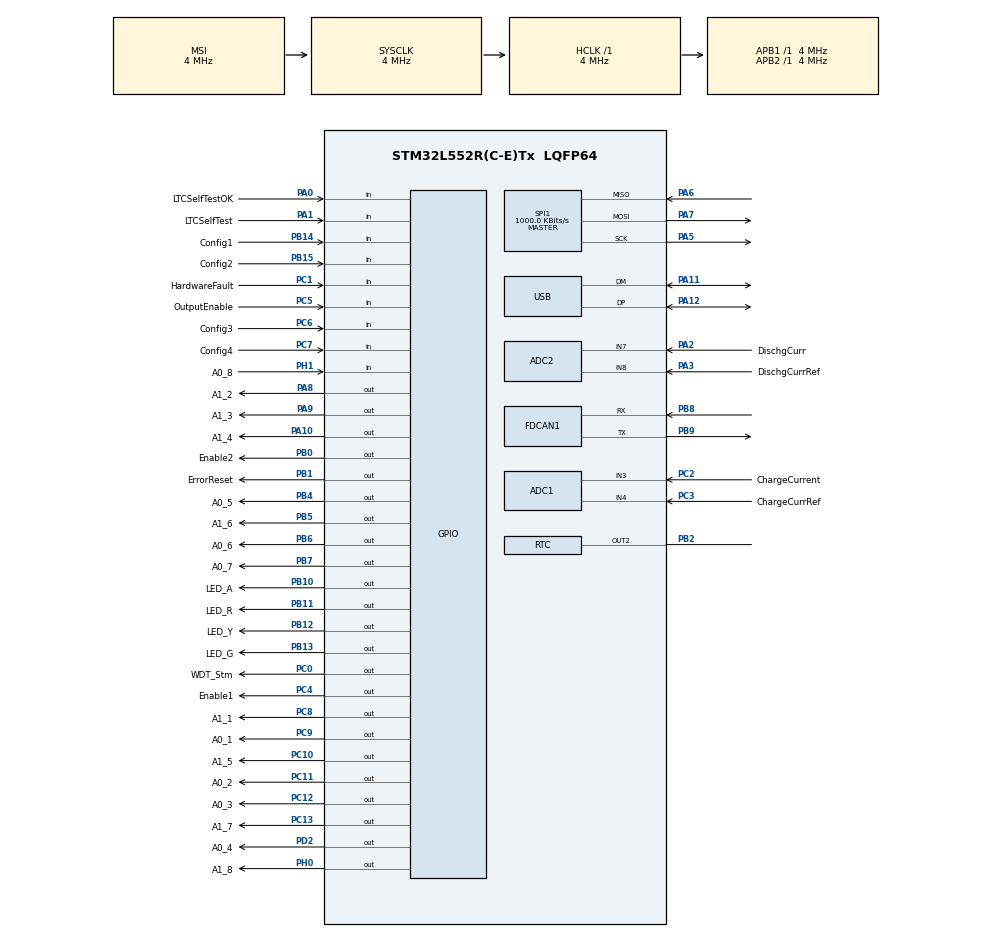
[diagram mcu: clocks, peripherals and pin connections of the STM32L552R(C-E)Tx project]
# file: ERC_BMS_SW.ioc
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ADC1.Channel-8\#ChannelRegularConversion=ADC_CHANNEL_3
ADC1.ExternalTrigConv=ADC_EXTERNALTRIG_T8_TRGO
ADC1.Mode=ADC_DUALMODE_REGSIMULT
ADC1.NbrOfConversionFlag=1
ADC1.OffsetNumber-8\#ChannelRegularConversion=ADC_OFFSET_NONE
ADC1.Rank-8\#ChannelRegularConversion=1
ADC1.SamplingTime-8\#ChannelRegularConversion=ADC_SAMPLETIME_2CYCLES_5
ADC1.SingleDiff-8\#ChannelRegularConversion=ADC_DIFFERENTIAL_ENDED
ADC1.master=1
ADC2.Channel-0\#ChannelRegularConversion=ADC_CHANNEL_7
ADC2.Mode=ADC_DUALMODE_REGSIMULT
ADC2.NbrOfConversionFlag=1
ADC2.OffsetNumber-0\#ChannelRegularConversion=ADC_OFFSET_NONE
ADC2.Rank-0\#ChannelRegularConversion=1
ADC2.SamplingTime-0\#ChannelRegularConversion=ADC_SAMPLETIME_2CYCLES_5
ADC2.SingleDiff-0\#ChannelRegularConversion=ADC_DIFFERENTIAL_ENDED
Dma.ADC1.0.Channel_PRIV_NPRIV=DMA_CHANNEL_NPRIV_DISABLE
Dma.ADC1.0.Direction=DMA_PERIPH_TO_MEMORY
Dma.ADC1.0.EventEnable=DISABLE
Dma.ADC1.0.Instance=DMA1_Channel2
Dma.ADC1.0.MemDataAlignment=DMA_MDATAALIGN_HALFWORD
Dma.ADC1.0.MemInc=DMA_MINC_DISABLE
Dma.ADC1.0.Mode=DMA_CIRCULAR
Dma.ADC1.0.PeriphDataAlignment=DMA_PDATAALIGN_HALFWORD
Dma.ADC1.0.PeriphInc=DMA_PINC_DISABLE
Dma.ADC1.0.Polarity=HAL_DMAMUX_REQ_GEN_RISING
Dma.ADC1.0.Priority=DMA_PRIORITY_LOW
Dma.ADC1.0.RequestNumber=1
Dma.ADC1.0.SignalID=NONE
Dma.ADC1.0.SyncEnable=DISABLE
Dma.ADC1.0.SyncPolarity=HAL_DMAMUX_SYNC_NO_EVENT
Dma.ADC1.0.SyncRequestNumber=1
Dma.ADC1.0.SyncSignalID=NONE
Dma.ADC2.1.Channel_PRIV_NPRIV=DMA_CHANNEL_NPRIV_DISABLE
Dma.ADC2.1.Direction=DMA_PERIPH_TO_MEMORY
Dma.ADC2.1.EventEnable=DISABLE
Dma.ADC2.1.Instance=DMA1_Channel1
Dma.ADC2.1.MemDataAlignment=DMA_MDATAALIGN_HALFWORD
Dma.ADC2.1.MemInc=DMA_MINC_ENABLE
Dma.ADC2.1.Mode=DMA_CIRCULAR
Dma.ADC2.1.PeriphDataAlignment=DMA_PDATAALIGN_HALFWORD
Dma.ADC2.1.PeriphInc=DMA_PINC_DISABLE
Dma.ADC2.1.Polarity=HAL_DMAMUX_REQ_GEN_RISING
Dma.ADC2.1.Priority=DMA_PRIORITY_LOW
Dma.ADC2.1.RequestNumber=1
Dma.ADC2.1.SignalID=NONE
Dma.ADC2.1.SyncEnable=DISABLE
Dma.ADC2.1.SyncPolarity=HAL_DMAMUX_SYNC_NO_EVENT
Dma.ADC2.1.SyncRequestNumber=1
Dma.ADC2.1.SyncSignalID=NONE
Dma.Request0=ADC1
Dma.Request1=ADC2
FDCAN1.CalculateBaudRateNominal=666666
FDCAN1.CalculateTimeBitNominal=1500
FDCAN1.CalculateTimeQuantumNominal=500.0
Mcu.Family=STM32L5
Mcu.Name=STM32L552R(C-E)Tx
Mcu.Package=LQFP64
NVIC.DMA1_Channel1_IRQn=true\:0\:0\:false\:false\:true\:false\:true\:true
NVIC.DMA1_Channel2_IRQn=true\:0\:0\:false\:false\:true\:false\:true\:true
NVIC.PriorityGroup=NVIC_PRIORITYGROUP_3
NVIC.TIM2_IRQn=true\:0\:0\:false\:false\:true\:true\:true\:true
NVIC.TIM3_IRQn=true\:0\:0\:false\:false\:true\:true\:true\:true
NVIC.TIM4_IRQn=true\:0\:0\:false\:false\:true\:true\:true\:true
NVIC.TIM5_IRQn=true\:0\:0\:false\:false\:true\:true\:true\:true
NVIC.USB_FS_IRQn=true\:0\:0\:false\:false\:true\:false\:true\:true
PA0.GPIO_Label=LTCSelfTestOK
PA0.Signal=GPIO_Input
PA1.GPIO_Label=LTCSelfTest
PA1.Signal=GPIO_Input
PA10.GPIO_Label=A1_4
PA10.Signal=GPIO_Output
PA11.Mode=Device
PA11.Signal=USB_DM
PA12.Mode=Device
PA12.Signal=USB_DP
PA13\ (JTMS/SWDIO).Mode=JTAG_4_pins
PA13\ (JTMS/SWDIO).Signal=DEBUG_JTMS-SWDIO
PA14\ (JTCK/SWCLK).Mode=JTAG_4_pins
PA14\ (JTCK/SWCLK).Signal=DEBUG_JTCK-SWCLK
PA15\ (JTDI).Mode=JTAG_4_pins
PA15\ (JTDI).Signal=DEBUG_JTDI
PA2.GPIO_Label=DischgCurr
PA2.Signal=ADCx_IN7
PA3.GPIO_Label=DischgCurrRef
PA3.Signal=ADCx_IN8
PA4.GPIO_Label=SPI1_CS
PA4.Signal=SPI1_NSS
PA5.Mode=Full_Duplex_Master
PA5.Signal=SPI1_SCK
PA6.Mode=Full_Duplex_Master
PA6.Signal=SPI1_MISO
PA7.Mode=Full_Duplex_Master
PA7.Signal=SPI1_MOSI
PA8.GPIO_Label=A1_2
PA8.Signal=GPIO_Output
PA9.GPIO_Label=A1_3
PA9.Signal=GPIO_Output
PB0.GPIO_Label=Enable2
PB0.Signal=GPIO_Output
PB1.GPIO_Label=ErrorReset
PB1.Signal=GPIO_Output
PB10.GPIO_Label=LED_A
PB10.Signal=GPIO_Output
PB11.GPIO_Label=LED_R
PB11.Signal=GPIO_Output
PB12.GPIO_Label=LED_Y
PB12.Signal=GPIO_Output
PB13.GPIO_Label=LED_G
PB13.Signal=GPIO_Output
PB14.GPIO_Label=Config1
PB14.GPIO_PuPd=GPIO_PULLUP
PB14.Signal=GPIO_Input
PB15.GPIO_Label=Config2
PB15.GPIO_PuPd=GPIO_PULLUP
PB15.Signal=GPIO_Input
PB2.Mode=Calibration_512Hz
PB2.Signal=RTC_OUT2
PB3\ (JTDO/TRACESWO).Mode=JTAG_4_pins
PB3\ (JTDO/TRACESWO).Signal=DEBUG_JTDO-SWO
PB4\ (NJTRST).GPIO_Label=A0_5
PB4\ (NJTRST).Signal=GPIO_Output
PB5.GPIO_Label=A1_6
PB5.Signal=GPIO_Output
PB6.GPIO_Label=A0_6
PB6.Signal=GPIO_Output
PB7.GPIO_FM7=__NULL
PB7.GPIO_Label=A0_7
PB7.GPIO_Speed=GPIO_SPEED_FREQ_LOW
PB7.Signal=GPIO_Output
PB8.Mode=FDCAN_Activate
PB8.Signal=FDCAN1_RX
PB9.Mode=FDCAN_Activate
PB9.Signal=FDCAN1_TX
PC0.GPIO_Label=WDT_Stm
PC0.Signal=GPIO_Output
PC1.GPIO_Label=HardwareFault
PC1.Signal=GPIO_Input
PC10.GPIO_Label=A1_5
PC10.Signal=GPIO_Output
PC11.GPIO_Label=A0_2
PC11.Signal=GPIO_Output
PC12.GPIO_Label=A0_3
PC12.Signal=GPIO_Output
PC13.GPIO_Label=A1_7
PC13.Signal=GPIO_Output
PC14-OSC32_IN\ (PC14).Mode=LSE-External-Oscillator
PC14-OSC32_IN\ (PC14).Signal=RCC_OSC32_IN
PC15-OSC32_OUT\ (PC15).Mode=LSE-External-Oscillator
PC15-OSC32_OUT\ (PC15).Signal=RCC_OSC32_OUT
PC2.GPIO_Label=ChargeCurrent
PC2.Signal=ADCx_IN3
PC3.GPIO_Label=ChargeCurrRef
PC3.Signal=ADCx_IN4
PC4.GPIO_Label=Enable1
PC4.Signal=GPIO_Output
PC5.GPIO_Label=OutputEnable
PC5.Signal=GPIO_Input
PC6.GPIO_Label=Config3
PC6.GPIO_PuPd=GPIO_PULLUP
PC6.Signal=GPIO_Input
PC7.GPIO_Label=Config4
PC7.GPIO_PuPd=GPIO_PULLUP
PC7.Signal=GPIO_Input
PC8.GPIO_Label=A1_1
PC8.Signal=GPIO_Output
PC9.GPIO_Label=A0_1
PC9.Signal=GPIO_Output
PD2.GPIO_Label=A0_4
PD2.Signal=GPIO_Output
PH0-OSC_IN\ (PH0).GPIO_Label=A1_8
PH0-OSC_IN\ (PH0).Signal=GPIO_Output
PH1-OSC_OUT\ (PH1).GPIO_Label=A0_8
PH1-OSC_OUT\ (PH1).Signal=GPIO_Input
ProjectManager.HeapSize=0x200
ProjectManager.StackSize=0x400
ProjectManager.TargetToolchain=STM32CubeIDE
RCC.ADCFreq_Value=48000000
RCC.AHBFreq_Value=4000000
RCC.APB1Freq_Value=4000000
RCC.APB1TimFreq_Value=4000000
RCC.APB2Freq_Value=4000000
RCC.APB2TimFreq_Value=4000000
RCC.CortexFreq_Value=4000000
RCC.HCLKFreq_Value=4000000
RCC.HSE_VALUE=16000000
RCC.HSI48_VALUE=48000000
RCC.HSI_VALUE=16000000
RCC.MSI_VALUE=4000000
RCC.PLLN=16
RCC.PLLSAI1N=24
RCC.RTCClockSelection=RCC_RTCCLKSOURCE_LSE
RCC.SYSCLKFreq_VALUE=4000000
RCC.USBFreq_Value=48000000
RCC.VCOOutputFreq_Value=64000000
SH.ADCx_IN3.0=ADC1_IN3,IN3-Differential
SH.ADCx_IN4.0=ADC1_IN4,IN3-Differential
SH.ADCx_IN7.0=ADC2_IN7,IN7-Differential
SH.ADCx_IN8.0=ADC2_IN8,IN7-Differential
SPI1.BaudRatePrescaler=SPI_BAUDRATEPRESCALER_4
SPI1.CLKPhase=SPI_PHASE_2EDGE
SPI1.CLKPolarity=SPI_POLARITY_HIGH
SPI1.CRCCalculation=SPI_CRCCALCULATION_DISABLE
SPI1.CalculateBaudRate=1000.0 KBits/s
SPI1.DataSize=SPI_DATASIZE_8BIT
SPI1.Direction=SPI_DIRECTION_2LINES
SPI1.Mode=SPI_MODE_MASTER
SPI1.VirtualType=VM_MASTER
TIM2.Channel-Output\ Compare1\ No\ Output=TIM_CHANNEL_1
TIM2.OCMode_1=TIM_OCMODE_ACTIVE
TIM2.Period=99
TIM2.Prescaler=7999
TIM2.Pulse-Output\ Compare1\ No\ Output=24
TIM2.TIM_MasterOutputTrigger=TIM_TRGO_OC1REF
TIM3.Channel-Output\ Compare1\ No\ Output=TIM_CHANNEL_1
TIM3.OCMode_1=TIM_OCMODE_ACTIVE
TIM3.Period=99
TIM3.Prescaler=7999
TIM3.Pulse-Output\ Compare1\ No\ Output=24
TIM4.Channel-Output\ Compare1\ No\ Output=TIM_CHANNEL_1
TIM4.OCMode_1=TIM_OCMODE_ACTIVE
TIM4.Period=99
TIM4.Prescaler=7999
TIM4.Pulse-Output\ Compare1\ No\ Output=24
TIM5.Period=99
USB_DEVICE.CLASS_NAME_FS=DFU
USB_DEVICE.VirtualMode=Dfu
USB_DEVICE.VirtualModeFS=Dfu_FS
VP_ICACHE_VS_ICACHE.Mode=DirectMappedCache
VP_PWR_VS_DBSignals.Mode=DisableDeadBatterySignals
VP_PWR_VS_SECSignals.Mode=Security/Privilege
VP_RTC_VS_RTC_Activate.Mode=RTC_Enabled
VP_RTC_VS_RTC_Calendar.Mode=RTC_Calendar
VP_TIM2_VS_ClockSourceINT.Mode=Internal
VP_TIM2_VS_no_output1.Mode=Output Compare1 No Output
VP_TIM3_VS_ClockSourceITR.Mode=TriggerSource_ITR1
VP_TIM3_VS_ControllerModeTrigger.Mode=Trigger Mode
VP_TIM3_VS_no_output1.Mode=Output Compare1 No Output
VP_TIM4_VS_ClockSourceITR.Mode=TriggerSource_ITR2
VP_TIM4_VS_ControllerModeTrigger.Mode=Trigger Mode
VP_TIM4_VS_no_output1.Mode=Output Compare1 No Output
VP_TIM5_VS_ClockSourceITR.Mode=TriggerSource_ITR2
VP_TIM5_VS_ControllerModeTrigger.Mode=Trigger Mode
VP_TIM8_VS_ClockSourceINT.Mode=Internal
VP_USB_DEVICE_VS_USB_DEVICE_DFU_FS.Mode=DFU_FS
board=custom

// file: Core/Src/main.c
/* USER CODE BEGIN Header */
/**
  ******************************************************************************
  * @file           : main.c
  * @brief          : Main program body
  ******************************************************************************
  * @attention
  *
  * Copyright (c) 2025 STMicroelectronics.
  * All rights reserved.
  *
  * This software is licensed under terms that can be found in the LICENSE file
  * in the root directory of this software component.
  * If no LICENSE file comes with this software, it is provided AS-IS.
  *
  ******************************************************************************
  */
/* USER CODE END Header */
#include "main.h"
#include "usb_device.h"

/* USER CODE BEGIN Includes */
#include "config.h"
#include "LTC6811.h"
#include "LT_SPI.h"
#include "LTC681x.h"
#include "stm32l5xx_hal.h"
#include <math.h>
#include <string.h>
/* USER CODE END Includes */

ADC_HandleTypeDef hadc1;
ADC_HandleTypeDef hadc2;
DMA_HandleTypeDef hdma_adc1;
DMA_HandleTypeDef hdma_adc2;

FDCAN_HandleTypeDef hfdcan1;

RTC_HandleTypeDef hrtc;

SPI_HandleTypeDef hspi1;

TIM_HandleTypeDef htim2;
TIM_HandleTypeDef htim3;
TIM_HandleTypeDef htim4;
TIM_HandleTypeDef htim5;
TIM_HandleTypeDef htim8;

/* USER CODE BEGIN PV */
float voltages[12];	//holds the converted voltages of each cell for 1 BMS IC
float temperatures[5];	//holds the Temperatures for 1 BMS IC

//LTC CONFIGURATION VARIABLES
bool REFON = true; //!< Reference Powered Up Bit (true means Vref remains powered on between conversions)
bool ADCOPT = true; //!< ADC Mode option bit	(true chooses the second set of ADC frequencies)
bool gpioBits_a[5] = {false,false,false,false,false}; //!< GPIO Pin Control // Gpio 1,2,3,4,5 (false -> pull-down on)
bool dccBits_a[12] = {false,false,false,false,false,false,false,false,false,false,false,false}; //!< Discharge cell switch //Dcc 1,2,3,4,5,6,7,8,9,10,11,12 (all false -> no discharge enabled)
bool dctoBits[4] = {false, false, false, false}; //!< Discharge time value // Dcto 0,1,2,3	(all false -> discharge timer disabled)

/* USER CODE END PV */

void SystemClock_Config(void);
void PeriphCommonClock_Config(void);
static void MX_GPIO_Init(void);
static void MX_DMA_Init(void);
static void MX_FDCAN1_Init(void);
static void MX_RTC_Init(void);
static void MX_ADC1_Init(void);
static void MX_SPI1_Init(void);
static void MX_ICACHE_Init(void);
static void MX_ADC2_Init(void);
static void MX_TIM2_Init(void);
static void MX_TIM3_Init(void);
static void MX_TIM4_Init(void);
static void MX_TIM5_Init(void);
static void MX_TIM8_Init(void);
/* USER CODE BEGIN PFP */
void LTC6811_init(void);	//Initializes the LTC and the SPI communication
/* USER CODE END PFP */

int main(void)
{

  /* MCU Configuration--------------------------------------------------------*/

  /* Reset of all peripherals, Initializes the Flash interface and the Systick. */
  HAL_Init();

  /* Configure the system clock */
  SystemClock_Config();

  /* Configure the peripherals common clocks */
  PeriphCommonClock_Config();

  /* Initialize all configured peripherals */
  MX_GPIO_Init();
  MX_DMA_Init();
  MX_FDCAN1_Init();
  MX_RTC_Init();
  MX_USB_Device_Init();
  MX_ADC1_Init();
  MX_SPI1_Init();
  MX_ICACHE_Init();
  MX_ADC2_Init();
  MX_TIM2_Init();
  MX_TIM3_Init();
  MX_TIM4_Init();
  MX_TIM5_Init();
  MX_TIM8_Init();
  /* USER CODE BEGIN 2 */

  LTC6811_init();	//initializes the LTC (and SPI communication)

  //START TIMERS
  HAL_TIM_Base_Start(&htim8);	//Triggers ADCs

  HAL_TIM_Base_Start_IT(&htim5); // Triggers Reading of aux conversion
  HAL_TIM_Base_Start_IT(&htim4); // Triggers aux conversion
  HAL_TIM_Base_Start_IT(&htim3); // Triggers Reading of voltage conversion
  HAL_TIM_Base_Start_IT(&htim2); // Triggers voltage conversion

  /* USER CODE END 2 */

  /* Infinite loop */
  while (1)
  {

  }
}

void SystemClock_Config(void)
{
  RCC_OscInitTypeDef RCC_OscInitStruct = {0};
  RCC_ClkInitTypeDef RCC_ClkInitStruct = {0};

  /** Configure the main internal regulator output voltage
  */
  if (HAL_PWREx_ControlVoltageScaling(PWR_REGULATOR_VOLTAGE_SCALE2) != HAL_OK)
  {
    Error_Handler();
  }

  /** Configure LSE Drive Capability
  */
  HAL_PWR_EnableBkUpAccess();
  __HAL_RCC_LSEDRIVE_CONFIG(RCC_LSEDRIVE_LOW);

  /** Initializes the RCC Oscillators according to the specified parameters
  * in the RCC_OscInitTypeDef structure.
  */
  RCC_OscInitStruct.OscillatorType = RCC_OSCILLATORTYPE_LSE|RCC_OSCILLATORTYPE_MSI;
  RCC_OscInitStruct.LSEState = RCC_LSE_ON;
  RCC_OscInitStruct.MSIState = RCC_MSI_ON;
  RCC_OscInitStruct.MSICalibrationValue = RCC_MSICALIBRATION_DEFAULT;
  RCC_OscInitStruct.MSIClockRange = RCC_MSIRANGE_6;
  RCC_OscInitStruct.PLL.PLLState = RCC_PLL_ON;
  RCC_OscInitStruct.PLL.PLLSource = RCC_PLLSOURCE_MSI;
  RCC_OscInitStruct.PLL.PLLM = 1;
  RCC_OscInitStruct.PLL.PLLN = 16;
  RCC_OscInitStruct.PLL.PLLP = RCC_PLLP_DIV7;
  RCC_OscInitStruct.PLL.PLLQ = RCC_PLLQ_DIV2;
  RCC_OscInitStruct.PLL.PLLR = RCC_PLLR_DIV2;
  if (HAL_RCC_OscConfig(&RCC_OscInitStruct) != HAL_OK)
  {
    Error_Handler();
  }

  /** Initializes the CPU, AHB and APB buses clocks
  */
  RCC_ClkInitStruct.ClockType = RCC_CLOCKTYPE_HCLK|RCC_CLOCKTYPE_SYSCLK
                              |RCC_CLOCKTYPE_PCLK1|RCC_CLOCKTYPE_PCLK2;
  RCC_ClkInitStruct.SYSCLKSource = RCC_SYSCLKSOURCE_MSI;
  RCC_ClkInitStruct.AHBCLKDivider = RCC_SYSCLK_DIV1;
  RCC_ClkInitStruct.APB1CLKDivider = RCC_HCLK_DIV1;
  RCC_ClkInitStruct.APB2CLKDivider = RCC_HCLK_DIV1;

  if (HAL_RCC_ClockConfig(&RCC_ClkInitStruct, FLASH_LATENCY_0) != HAL_OK)
  {
    Error_Handler();
  }

  /** Enable MSI Auto calibration
  */
  HAL_RCCEx_EnableMSIPLLMode();
}

void PeriphCommonClock_Config(void)
{
  RCC_PeriphCLKInitTypeDef PeriphClkInit = {0};

  /** Initializes the common periph clock
  */
  PeriphClkInit.PeriphClockSelection = RCC_PERIPHCLK_USB|RCC_PERIPHCLK_ADC;
  PeriphClkInit.AdcClockSelection = RCC_ADCCLKSOURCE_PLLSAI1;
  PeriphClkInit.UsbClockSelection = RCC_USBCLKSOURCE_PLLSAI1;
  PeriphClkInit.PLLSAI1.PLLSAI1Source = RCC_PLLSAI1SOURCE_MSI;
  PeriphClkInit.PLLSAI1.PLLSAI1M = 1;
  PeriphClkInit.PLLSAI1.PLLSAI1N = 24;
  PeriphClkInit.PLLSAI1.PLLSAI1P = RCC_PLLP_DIV7;
  PeriphClkInit.PLLSAI1.PLLSAI1Q = RCC_PLLQ_DIV2;
  PeriphClkInit.PLLSAI1.PLLSAI1R = RCC_PLLR_DIV2;
  PeriphClkInit.PLLSAI1.PLLSAI1ClockOut = RCC_PLLSAI1_48M2CLK|RCC_PLLSAI1_ADC1CLK;
  if (HAL_RCCEx_PeriphCLKConfig(&PeriphClkInit) != HAL_OK)
  {
    Error_Handler();
  }
}

static void MX_ADC1_Init(void)
{

  ADC_MultiModeTypeDef multimode = {0};
  ADC_ChannelConfTypeDef sConfig = {0};

  /** Common config
  */
  hadc1.Instance = ADC1;
  hadc1.Init.ClockPrescaler = ADC_CLOCK_ASYNC_DIV1;
  hadc1.Init.Resolution = ADC_RESOLUTION_12B;
  hadc1.Init.DataAlign = ADC_DATAALIGN_RIGHT;
  hadc1.Init.ScanConvMode = ADC_SCAN_DISABLE;
  hadc1.Init.EOCSelection = ADC_EOC_SINGLE_CONV;
  hadc1.Init.LowPowerAutoWait = DISABLE;
  hadc1.Init.ContinuousConvMode = DISABLE;
  hadc1.Init.NbrOfConversion = 1;
  hadc1.Init.DiscontinuousConvMode = DISABLE;
  hadc1.Init.ExternalTrigConv = ADC_EXTERNALTRIG_T8_TRGO;
  hadc1.Init.ExternalTrigConvEdge = ADC_EXTERNALTRIGCONVEDGE_RISING;
  hadc1.Init.DMAContinuousRequests = DISABLE;
  hadc1.Init.Overrun = ADC_OVR_DATA_PRESERVED;
  hadc1.Init.OversamplingMode = DISABLE;
  if (HAL_ADC_Init(&hadc1) != HAL_OK)
  {
    Error_Handler();
  }

  /** Configure the ADC multi-mode
  */
  multimode.Mode = ADC_DUALMODE_REGSIMULT;
  multimode.DMAAccessMode = ADC_DMAACCESSMODE_DISABLED;
  multimode.TwoSamplingDelay = ADC_TWOSAMPLINGDELAY_1CYCLE;
  if (HAL_ADCEx_MultiModeConfigChannel(&hadc1, &multimode) != HAL_OK)
  {
    Error_Handler();
  }

  /** Configure Regular Channel
  */
  sConfig.Channel = ADC_CHANNEL_3;
  sConfig.Rank = ADC_REGULAR_RANK_1;
  sConfig.SamplingTime = ADC_SAMPLETIME_2CYCLES_5;
  sConfig.SingleDiff = ADC_DIFFERENTIAL_ENDED;
  sConfig.OffsetNumber = ADC_OFFSET_NONE;
  sConfig.Offset = 0;
  if (HAL_ADC_ConfigChannel(&hadc1, &sConfig) != HAL_OK)
  {
    Error_Handler();
  }

}

static void MX_ADC2_Init(void)
{

  ADC_ChannelConfTypeDef sConfig = {0};

  /** Common config
  */
  hadc2.Instance = ADC2;
  hadc2.Init.ClockPrescaler = ADC_CLOCK_ASYNC_DIV1;
  hadc2.Init.Resolution = ADC_RESOLUTION_12B;
  hadc2.Init.DataAlign = ADC_DATAALIGN_RIGHT;
  hadc2.Init.ScanConvMode = ADC_SCAN_DISABLE;
  hadc2.Init.EOCSelection = ADC_EOC_SINGLE_CONV;
  hadc2.Init.LowPowerAutoWait = DISABLE;
  hadc2.Init.ContinuousConvMode = DISABLE;
  hadc2.Init.NbrOfConversion = 1;
  hadc2.Init.DiscontinuousConvMode = DISABLE;
  hadc2.Init.DMAContinuousRequests = DISABLE;
  hadc2.Init.Overrun = ADC_OVR_DATA_PRESERVED;
  hadc2.Init.OversamplingMode = DISABLE;
  if (HAL_ADC_Init(&hadc2) != HAL_OK)
  {
    Error_Handler();
  }

  /** Configure Regular Channel
  */
  sConfig.Channel = ADC_CHANNEL_7;
  sConfig.Rank = ADC_REGULAR_RANK_1;
  sConfig.SamplingTime = ADC_SAMPLETIME_2CYCLES_5;
  sConfig.SingleDiff = ADC_DIFFERENTIAL_ENDED;
  sConfig.OffsetNumber = ADC_OFFSET_NONE;
  sConfig.Offset = 0;
  if (HAL_ADC_ConfigChannel(&hadc2, &sConfig) != HAL_OK)
  {
    Error_Handler();
  }

}

static void MX_FDCAN1_Init(void)
{

  hfdcan1.Instance = FDCAN1;
  hfdcan1.Init.ClockDivider = FDCAN_CLOCK_DIV1;
  hfdcan1.Init.FrameFormat = FDCAN_FRAME_CLASSIC;
  hfdcan1.Init.Mode = FDCAN_MODE_NORMAL;
  hfdcan1.Init.AutoRetransmission = DISABLE;
  hfdcan1.Init.TransmitPause = DISABLE;
  hfdcan1.Init.ProtocolException = DISABLE;
  hfdcan1.Init.NominalPrescaler = 16;
  hfdcan1.Init.NominalSyncJumpWidth = 1;
  hfdcan1.Init.NominalTimeSeg1 = 1;
  hfdcan1.Init.NominalTimeSeg2 = 1;
  hfdcan1.Init.DataPrescaler = 1;
  hfdcan1.Init.DataSyncJumpWidth = 1;
  hfdcan1.Init.DataTimeSeg1 = 1;
  hfdcan1.Init.DataTimeSeg2 = 1;
  hfdcan1.Init.StdFiltersNbr = 0;
  hfdcan1.Init.ExtFiltersNbr = 0;
  hfdcan1.Init.TxFifoQueueMode = FDCAN_TX_FIFO_OPERATION;
  if (HAL_FDCAN_Init(&hfdcan1) != HAL_OK)
  {
    Error_Handler();
  }

}

static void MX_ICACHE_Init(void)
{

  /** Enable instruction cache in 1-way (direct mapped cache)
  */
  if (HAL_ICACHE_ConfigAssociativityMode(ICACHE_1WAY) != HAL_OK)
  {
    Error_Handler();
  }
  if (HAL_ICACHE_Enable() != HAL_OK)
  {
    Error_Handler();
  }

}

static void MX_RTC_Init(void)
{

  RTC_PrivilegeStateTypeDef privilegeState = {0};
  RTC_TimeTypeDef sTime = {0};
  RTC_DateTypeDef sDate = {0};

  /** Initialize RTC Only
  */
  hrtc.Instance = RTC;
  hrtc.Init.HourFormat = RTC_HOURFORMAT_24;
  hrtc.Init.AsynchPrediv = 127;
  hrtc.Init.SynchPrediv = 255;
  hrtc.Init.OutPut = RTC_OUTPUT_DISABLE;
  hrtc.Init.OutPutRemap = RTC_OUTPUT_REMAP_NONE;
  hrtc.Init.OutPutPolarity = RTC_OUTPUT_POLARITY_HIGH;
  hrtc.Init.OutPutType = RTC_OUTPUT_TYPE_OPENDRAIN;
  hrtc.Init.OutPutPullUp = RTC_OUTPUT_PULLUP_NONE;
  if (HAL_RTC_Init(&hrtc) != HAL_OK)
  {
    Error_Handler();
  }
  privilegeState.rtcPrivilegeFull = RTC_PRIVILEGE_FULL_NO;
  privilegeState.backupRegisterPrivZone = RTC_PRIVILEGE_BKUP_ZONE_NONE;
  privilegeState.backupRegisterStartZone2 = RTC_BKP_DR0;
  privilegeState.backupRegisterStartZone3 = RTC_BKP_DR0;
  if (HAL_RTCEx_PrivilegeModeSet(&hrtc, &privilegeState) != HAL_OK)
  {
    Error_Handler();
  }

  /** Initialize RTC and set the Time and Date
  */
  sTime.Hours = 0x0;
  sTime.Minutes = 0x0;
  sTime.Seconds = 0x0;
  sTime.DayLightSaving = RTC_DAYLIGHTSAVING_NONE;
  sTime.StoreOperation = RTC_STOREOPERATION_RESET;
  if (HAL_RTC_SetTime(&hrtc, &sTime, RTC_FORMAT_BCD) != HAL_OK)
  {
    Error_Handler();
  }
  sDate.WeekDay = RTC_WEEKDAY_MONDAY;
  sDate.Month = RTC_MONTH_JANUARY;
  sDate.Date = 0x1;
  sDate.Year = 0x0;

  if (HAL_RTC_SetDate(&hrtc, &sDate, RTC_FORMAT_BCD) != HAL_OK)
  {
    Error_Handler();
  }

  /** Enable Calibration
  */
  if (HAL_RTCEx_SetCalibrationOutPut(&hrtc, RTC_CALIBOUTPUT_512HZ) != HAL_OK)
  {
    Error_Handler();
  }

}

static void MX_SPI1_Init(void)
{

  /* SPI1 parameter configuration*/
  hspi1.Instance = SPI1;
  hspi1.Init.Mode = SPI_MODE_MASTER;
  hspi1.Init.Direction = SPI_DIRECTION_2LINES;
  hspi1.Init.DataSize = SPI_DATASIZE_8BIT;
  hspi1.Init.CLKPolarity = SPI_POLARITY_HIGH;
  hspi1.Init.CLKPhase = SPI_PHASE_2EDGE;
  hspi1.Init.NSS = SPI_NSS_SOFT;
  hspi1.Init.BaudRatePrescaler = SPI_BAUDRATEPRESCALER_4;
  hspi1.Init.FirstBit = SPI_FIRSTBIT_MSB;
  hspi1.Init.TIMode = SPI_TIMODE_DISABLE;
  hspi1.Init.CRCCalculation = SPI_CRCCALCULATION_DISABLE;
  hspi1.Init.CRCPolynomial = 7;
  hspi1.Init.CRCLength = SPI_CRC_LENGTH_DATASIZE;
  hspi1.Init.NSSPMode = SPI_NSS_PULSE_DISABLE;
  if (HAL_SPI_Init(&hspi1) != HAL_OK)
  {
    Error_Handler();
  }

}

static void MX_TIM2_Init(void)
{

  TIM_ClockConfigTypeDef sClockSourceConfig = {0};
  TIM_MasterConfigTypeDef sMasterConfig = {0};
  TIM_OC_InitTypeDef sConfigOC = {0};

  htim2.Instance = TIM2;
  htim2.Init.Prescaler = 7999;
  htim2.Init.CounterMode = TIM_COUNTERMODE_UP;
  htim2.Init.Period = 99;
  htim2.Init.ClockDivision = TIM_CLOCKDIVISION_DIV1;
  htim2.Init.AutoReloadPreload = TIM_AUTORELOAD_PRELOAD_DISABLE;
  if (HAL_TIM_Base_Init(&htim2) != HAL_OK)
  {
    Error_Handler();
  }
  sClockSourceConfig.ClockSource = TIM_CLOCKSOURCE_INTERNAL;
  if (HAL_TIM_ConfigClockSource(&htim2, &sClockSourceConfig) != HAL_OK)
  {
    Error_Handler();
  }
  if (HAL_TIM_OC_Init(&htim2) != HAL_OK)
  {
    Error_Handler();
  }
  sMasterConfig.MasterOutputTrigger = TIM_TRGO_OC1REF;
  sMasterConfig.MasterSlaveMode = TIM_MASTERSLAVEMODE_DISABLE;
  if (HAL_TIMEx_MasterConfigSynchronization(&htim2, &sMasterConfig) != HAL_OK)
  {
    Error_Handler();
  }
  sConfigOC.OCMode = TIM_OCMODE_ACTIVE;
  sConfigOC.Pulse = 24;
  sConfigOC.OCPolarity = TIM_OCPOLARITY_HIGH;
  sConfigOC.OCFastMode = TIM_OCFAST_DISABLE;
  if (HAL_TIM_OC_ConfigChannel(&htim2, &sConfigOC, TIM_CHANNEL_1) != HAL_OK)
  {
    Error_Handler();
  }

}

static void MX_TIM3_Init(void)
{

  TIM_SlaveConfigTypeDef sSlaveConfig = {0};
  TIM_MasterConfigTypeDef sMasterConfig = {0};
  TIM_OC_InitTypeDef sConfigOC = {0};

  htim3.Instance = TIM3;
  htim3.Init.Prescaler = 7999;
  htim3.Init.CounterMode = TIM_COUNTERMODE_UP;
  htim3.Init.Period = 99;
  htim3.Init.ClockDivision = TIM_CLOCKDIVISION_DIV1;
  htim3.Init.AutoReloadPreload = TIM_AUTORELOAD_PRELOAD_DISABLE;
  if (HAL_TIM_Base_Init(&htim3) != HAL_OK)
  {
    Error_Handler();
  }
  if (HAL_TIM_OC_Init(&htim3) != HAL_OK)
  {
    Error_Handler();
  }
  sSlaveConfig.SlaveMode = TIM_SLAVEMODE_TRIGGER;
  sSlaveConfig.InputTrigger = TIM_TS_ITR1;
  if (HAL_TIM_SlaveConfigSynchro(&htim3, &sSlaveConfig) != HAL_OK)
  {
    Error_Handler();
  }
  sMasterConfig.MasterOutputTrigger = TIM_TRGO_RESET;
  sMasterConfig.MasterSlaveMode = TIM_MASTERSLAVEMODE_DISABLE;
  if (HAL_TIMEx_MasterConfigSynchronization(&htim3, &sMasterConfig) != HAL_OK)
  {
    Error_Handler();
  }
  sConfigOC.OCMode = TIM_OCMODE_ACTIVE;
  sConfigOC.Pulse = 24;
  sConfigOC.OCPolarity = TIM_OCPOLARITY_HIGH;
  sConfigOC.OCFastMode = TIM_OCFAST_DISABLE;
  if (HAL_TIM_OC_ConfigChannel(&htim3, &sConfigOC, TIM_CHANNEL_1) != HAL_OK)
  {
    Error_Handler();
  }

}

static void MX_TIM4_Init(void)
{

  TIM_SlaveConfigTypeDef sSlaveConfig = {0};
  TIM_MasterConfigTypeDef sMasterConfig = {0};
  TIM_OC_InitTypeDef sConfigOC = {0};

  htim4.Instance = TIM4;
  htim4.Init.Prescaler = 7999;
  htim4.Init.CounterMode = TIM_COUNTERMODE_UP;
  htim4.Init.Period = 99;
  htim4.Init.ClockDivision = TIM_CLOCKDIVISION_DIV1;
  htim4.Init.AutoReloadPreload = TIM_AUTORELOAD_PRELOAD_DISABLE;
  if (HAL_TIM_Base_Init(&htim4) != HAL_OK)
  {
    Error_Handler();
  }
  if (HAL_TIM_OC_Init(&htim4) != HAL_OK)
  {
    Error_Handler();
  }
  sSlaveConfig.SlaveMode = TIM_SLAVEMODE_TRIGGER;
  sSlaveConfig.InputTrigger = TIM_TS_ITR2;
  if (HAL_TIM_SlaveConfigSynchro(&htim4, &sSlaveConfig) != HAL_OK)
  {
    Error_Handler();
  }
  sMasterConfig.MasterOutputTrigger = TIM_TRGO_RESET;
  sMasterConfig.MasterSlaveMode = TIM_MASTERSLAVEMODE_DISABLE;
  if (HAL_TIMEx_MasterConfigSynchronization(&htim4, &sMasterConfig) != HAL_OK)
  {
    Error_Handler();
  }
  sConfigOC.OCMode = TIM_OCMODE_ACTIVE;
  sConfigOC.Pulse = 24;
  sConfigOC.OCPolarity = TIM_OCPOLARITY_HIGH;
  sConfigOC.OCFastMode = TIM_OCFAST_DISABLE;
  if (HAL_TIM_OC_ConfigChannel(&htim4, &sConfigOC, TIM_CHANNEL_1) != HAL_OK)
  {
    Error_Handler();
  }

}

static void MX_TIM5_Init(void)
{

  TIM_SlaveConfigTypeDef sSlaveConfig = {0};
  TIM_MasterConfigTypeDef sMasterConfig = {0};

  htim5.Instance = TIM5;
  htim5.Init.Prescaler = 0;
  htim5.Init.CounterMode = TIM_COUNTERMODE_UP;
  htim5.Init.Period = 99;
  htim5.Init.ClockDivision = TIM_CLOCKDIVISION_DIV1;
  htim5.Init.AutoReloadPreload = TIM_AUTORELOAD_PRELOAD_DISABLE;
  if (HAL_TIM_Base_Init(&htim5) != HAL_OK)
  {
    Error_Handler();
  }
  sSlaveConfig.SlaveMode = TIM_SLAVEMODE_TRIGGER;
  sSlaveConfig.InputTrigger = TIM_TS_ITR2;
  if (HAL_TIM_SlaveConfigSynchro(&htim5, &sSlaveConfig) != HAL_OK)
  {
    Error_Handler();
  }
  sMasterConfig.MasterOutputTrigger = TIM_TRGO_RESET;
  sMasterConfig.MasterSlaveMode = TIM_MASTERSLAVEMODE_DISABLE;
  if (HAL_TIMEx_MasterConfigSynchronization(&htim5, &sMasterConfig) != HAL_OK)
  {
    Error_Handler();
  }

}

static void MX_TIM8_Init(void)
{

  TIM_ClockConfigTypeDef sClockSourceConfig = {0};
  TIM_MasterConfigTypeDef sMasterConfig = {0};

  htim8.Instance = TIM8;
  htim8.Init.Prescaler = 0;
  htim8.Init.CounterMode = TIM_COUNTERMODE_UP;
  htim8.Init.Period = 65535;
  htim8.Init.ClockDivision = TIM_CLOCKDIVISION_DIV1;
  htim8.Init.RepetitionCounter = 0;
  htim8.Init.AutoReloadPreload = TIM_AUTORELOAD_PRELOAD_DISABLE;
  if (HAL_TIM_Base_Init(&htim8) != HAL_OK)
  {
    Error_Handler();
  }
  sClockSourceConfig.ClockSource = TIM_CLOCKSOURCE_INTERNAL;
  if (HAL_TIM_ConfigClockSource(&htim8, &sClockSourceConfig) != HAL_OK)
  {
    Error_Handler();
  }
  sMasterConfig.MasterOutputTrigger = TIM_TRGO_RESET;
  sMasterConfig.MasterOutputTrigger2 = TIM_TRGO2_RESET;
  sMasterConfig.MasterSlaveMode = TIM_MASTERSLAVEMODE_DISABLE;
  if (HAL_TIMEx_MasterConfigSynchronization(&htim8, &sMasterConfig) != HAL_OK)
  {
    Error_Handler();
  }

}

static void MX_DMA_Init(void)
{

  /* DMA controller clock enable */
  __HAL_RCC_DMAMUX1_CLK_ENABLE();
  __HAL_RCC_DMA1_CLK_ENABLE();

  /* DMA interrupt init */
  /* DMA1_Channel1_IRQn interrupt configuration */
  HAL_NVIC_SetPriority(DMA1_Channel1_IRQn, 0, 0);
  HAL_NVIC_EnableIRQ(DMA1_Channel1_IRQn);
  /* DMA1_Channel2_IRQn interrupt configuration */
  HAL_NVIC_SetPriority(DMA1_Channel2_IRQn, 0, 0);
  HAL_NVIC_EnableIRQ(DMA1_Channel2_IRQn);

}

static void MX_GPIO_Init(void)
{
  GPIO_InitTypeDef GPIO_InitStruct = {0};

  /* GPIO Ports Clock Enable */
  __HAL_RCC_GPIOC_CLK_ENABLE();
  __HAL_RCC_GPIOH_CLK_ENABLE();
  __HAL_RCC_GPIOA_CLK_ENABLE();
  __HAL_RCC_GPIOB_CLK_ENABLE();
  __HAL_RCC_GPIOD_CLK_ENABLE();

  /*Configure GPIO pin Output Level */
  HAL_GPIO_WritePin(GPIOC, A1_7_Pin|WDT_Stm_Pin|Enable1_Pin|A1_1_Pin
                          |A0_1_Pin|A1_5_Pin|A0_2_Pin|A0_3_Pin, GPIO_PIN_RESET);

  /*Configure GPIO pin Output Level */
  HAL_GPIO_WritePin(A1_8_GPIO_Port, A1_8_Pin, GPIO_PIN_RESET);

  /*Configure GPIO pin Output Level */
  HAL_GPIO_WritePin(GPIOB, Enable2_Pin|ErrorReset_Pin|LED_A_Pin|LED_R_Pin
                          |LED_Y_Pin|LED_G_Pin|A0_5_Pin|A1_6_Pin
                          |A0_6_Pin|A0_7_Pin, GPIO_PIN_RESET);

  /*Configure GPIO pin Output Level */
  HAL_GPIO_WritePin(GPIOA, A1_2_Pin|A1_3_Pin|A1_4_Pin, GPIO_PIN_RESET);

  /*Configure GPIO pin Output Level */
  HAL_GPIO_WritePin(A0_4_GPIO_Port, A0_4_Pin, GPIO_PIN_RESET);

  /*Configure GPIO pins : A1_7_Pin WDT_Stm_Pin Enable1_Pin A1_1_Pin
                           A0_1_Pin A1_5_Pin A0_2_Pin A0_3_Pin */
  GPIO_InitStruct.Pin = A1_7_Pin|WDT_Stm_Pin|Enable1_Pin|A1_1_Pin
                          |A0_1_Pin|A1_5_Pin|A0_2_Pin|A0_3_Pin;
  GPIO_InitStruct.Mode = GPIO_MODE_OUTPUT_PP;
  GPIO_InitStruct.Pull = GPIO_NOPULL;
  GPIO_InitStruct.Speed = GPIO_SPEED_FREQ_LOW;
  HAL_GPIO_Init(GPIOC, &GPIO_InitStruct);

  /*Configure GPIO pin : A1_8_Pin */
  GPIO_InitStruct.Pin = A1_8_Pin;
  GPIO_InitStruct.Mode = GPIO_MODE_OUTPUT_PP;
  GPIO_InitStruct.Pull = GPIO_NOPULL;
  GPIO_InitStruct.Speed = GPIO_SPEED_FREQ_LOW;
  HAL_GPIO_Init(A1_8_GPIO_Port, &GPIO_InitStruct);

  /*Configure GPIO pin : A0_8_Pin */
  GPIO_InitStruct.Pin = A0_8_Pin;
  GPIO_InitStruct.Mode = GPIO_MODE_INPUT;
  GPIO_InitStruct.Pull = GPIO_NOPULL;
  HAL_GPIO_Init(A0_8_GPIO_Port, &GPIO_InitStruct);

  /*Configure GPIO pins : HardwareFault_Pin OutputEnable_Pin */
  GPIO_InitStruct.Pin = HardwareFault_Pin|OutputEnable_Pin;
  GPIO_InitStruct.Mode = GPIO_MODE_INPUT;
  GPIO_InitStruct.Pull = GPIO_NOPULL;
  HAL_GPIO_Init(GPIOC, &GPIO_InitStruct);

  /*Configure GPIO pins : LTCSelfTestOK_Pin LTCSelfTest_Pin */
  GPIO_InitStruct.Pin = LTCSelfTestOK_Pin|LTCSelfTest_Pin;
  GPIO_InitStruct.Mode = GPIO_MODE_INPUT;
  GPIO_InitStruct.Pull = GPIO_NOPULL;
  HAL_GPIO_Init(GPIOA, &GPIO_InitStruct);

  /*Configure GPIO pins : Enable2_Pin ErrorReset_Pin LED_A_Pin LED_R_Pin
                           LED_Y_Pin LED_G_Pin A0_5_Pin A1_6_Pin
                           A0_6_Pin A0_7_Pin */
  GPIO_InitStruct.Pin = Enable2_Pin|ErrorReset_Pin|LED_A_Pin|LED_R_Pin
                          |LED_Y_Pin|LED_G_Pin|A0_5_Pin|A1_6_Pin
                          |A0_6_Pin|A0_7_Pin;
  GPIO_InitStruct.Mode = GPIO_MODE_OUTPUT_PP;
  GPIO_InitStruct.Pull = GPIO_NOPULL;
  GPIO_InitStruct.Speed = GPIO_SPEED_FREQ_LOW;
  HAL_GPIO_Init(GPIOB, &GPIO_InitStruct);

  /*Configure GPIO pins : Config1_Pin Config2_Pin */
  GPIO_InitStruct.Pin = Config1_Pin|Config2_Pin;
  GPIO_InitStruct.Mode = GPIO_MODE_INPUT;
  GPIO_InitStruct.Pull = GPIO_PULLUP;
  HAL_GPIO_Init(GPIOB, &GPIO_InitStruct);

  /*Configure GPIO pins : Config3_Pin Config4_Pin */
  GPIO_InitStruct.Pin = Config3_Pin|Config4_Pin;
  GPIO_InitStruct.Mode = GPIO_MODE_INPUT;
  GPIO_InitStruct.Pull = GPIO_PULLUP;
  HAL_GPIO_Init(GPIOC, &GPIO_InitStruct);

  /*Configure GPIO pins : A1_2_Pin A1_3_Pin A1_4_Pin */
  GPIO_InitStruct.Pin = A1_2_Pin|A1_3_Pin|A1_4_Pin;
  GPIO_InitStruct.Mode = GPIO_MODE_OUTPUT_PP;
  GPIO_InitStruct.Pull = GPIO_NOPULL;
  GPIO_InitStruct.Speed = GPIO_SPEED_FREQ_LOW;
  HAL_GPIO_Init(GPIOA, &GPIO_InitStruct);

  /*Configure GPIO pin : A0_4_Pin */
  GPIO_InitStruct.Pin = A0_4_Pin;
  GPIO_InitStruct.Mode = GPIO_MODE_OUTPUT_PP;
  GPIO_InitStruct.Pull = GPIO_NOPULL;
  GPIO_InitStruct.Speed = GPIO_SPEED_FREQ_LOW;
  HAL_GPIO_Init(A0_4_GPIO_Port, &GPIO_InitStruct);

}

/* USER CODE BEGIN 4 */

//timers to control the LTC6811 value reading
void HAL_TIM_PeriodElapsedCallback(TIM_HandleTypeDef *htim)
{
	//TIM2 starts first and then triggers TIM3, which triggers TIM4, which triggers TIM5.
	//These 4 timers run in a loop at 5Hz each, and 20Hz overall
	//TIM2 starts cell voltage conversion
	if(htim->Instance == TIM2){
		__HAL_TIM_CLEAR_IT(&htim2 ,TIM_IT_UPDATE);	//clears the IT flag
//		__HAL_TIM_SET_COUNTER(&htim2, 0);	//resets the timer's counter to 0
		wakeup_idle(TOTAL_IC);	//wake up daisy-chain from sleep mode
		LTC6811_adcv(MD_27KHZ_14KHZ, DCP_DISABLED, CELL_CH_ALL); //should take 1.1 ms for 27KHz mode and 1.3 ms for 14KHz mode

	}//TIM3 reads cell voltages
	else if(htim->Instance == TIM3){
		__HAL_TIM_CLEAR_IT(&htim3 ,TIM_IT_UPDATE);	//clears the IT flag
//		__HAL_TIM_SET_COUNTER(&htim3, 0);	//resets the timer's counter to 0
		wakeup_idle(TOTAL_IC);	//wake up daisy-chain from sleep mode
		cvError = LTC6811_rdcv(CELL_CH_ALL, TOTAL_IC, bms_ic); // Reads and parses the LTC6811 cell voltage registers.
//		uint8_t LTC6811_rdcv(uint8_t reg, // Controls which cell voltage register is read back.
//		                     uint8_t total_ic, // the number of ICs in the system
//		                     cell_asic ic[] // Array of the parsed cell codes
//		                    )
		for(int i=0;i<12;i++)
			voltages[i] = bms_ic[0].cells.c_codes[i] * 0.0001;

	}//TIM4 starts aux voltage conversion
	else if(htim->Instance == TIM4){
		__HAL_TIM_CLEAR_IT(&htim4 ,TIM_IT_UPDATE);	//clears the IT flag
//		__HAL_TIM_SET_COUNTER(&htim4, 0);	//resets the timer's counter to 0
		wakeup_idle(TOTAL_IC);	//wake up daisy-chain from sleep mode
		LTC6811_adax(MD_27KHZ_14KHZ, AUX_CH_ALL); //should take 1.1 ms for 27KHz mode and 1.3 ms for 14KHz mode

	}//TIM5 reads aux voltage conversion
	else if(htim->Instance == TIM5){
		__HAL_TIM_CLEAR_IT(&htim5 ,TIM_IT_UPDATE);	//clears the IT flag
//		__HAL_TIM_SET_COUNTER(&htim5, 0);	//resets the timer's counter to 0
		flagErrorCheck = true;	//enables the error chack and state change code block
		wakeup_idle(TOTAL_IC);	//wake up daisy-chain from sleep mode
		auxError = LTC6811_rdaux(AUX_CH_ALL, TOTAL_IC, bms_ic);
		//				int8_t LTC6811_rdaux(uint8_t reg, //Determines which GPIO voltage register is read back.
		//				                     uint8_t total_ic,//the number of ICs in the system
		//				                     cell_asic ic[]//A two dimensional array of the gpio voltage codes.
		//				                    )
//		for(int i=0;i<5;i++)
//			temperatures[i] = bms_ic[0].aux.a_codes[i];
	}
}

//Initializes the LTC's registers and the SPI communication
void LTC6811_init(){
	//LTC6811_Initialize();	//Initializes the SPI communication at 1MHz
	LTC6811_init_cfg(TOTAL_IC, bms_ic);	//Initializes the confiugration registers to all 0s
	//This for loop initializes the configuration register variables
	for (uint8_t current_ic = 0; current_ic<TOTAL_IC;current_ic++){
		LTC6811_set_cfgr(current_ic,bms_ic,REFON,ADCOPT,gpioBits_a,dccBits_a); // write LTC config like defined above
    }
	LTC6811_reset_crc_count(TOTAL_IC,bms_ic);	//sets the CRC count to 0
	LTC6811_init_reg_limits(TOTAL_IC, bms_ic);	//Initializes the LTC's register limits for LTC6811 (because the generic LTC681x libraries can also be used for LTC6813 and others)
	wakeup_sleep(TOTAL_IC);
	LTC6811_wrcfg(TOTAL_IC,bms_ic);	//writes the configuration variables in the configuration registers via SPI
}

//convert ADC values into temperature
void tempConvert(){
	for (int current_ic = 0; current_ic < TOTAL_IC; current_ic++){
		for(int sensor = 0; sensor < TOTAL_SENSOR; sensor++){
			temperatures[i] = 1/((1/B)*log(((bms_ic[0].aux.a_codes[i]/bms_ic[0].aux.a_codes[AUX_CH_VREF2])+1)*R1/Rntc)+1/(Tref+273.15))-273.15;
		}
	}
}
//convert stm ADC into current after DMA interrupt

void SetHardwareProtection(){
	// HardwareOVP
    HAL_GPIO_WritePin(A1_1_GPIO_Port, A1_1_Pin, (HardwareOVP>>3)&1);
    HAL_GPIO_WritePin(A0_1_GPIO_Port, A0_1_Pin, (HardwareOVP>>2)&1);
    HAL_GPIO_WritePin(A1_2_GPIO_Port, A1_2_Pin, (HardwareOVP>>1)&1);
    HAL_GPIO_WritePin(A0_2_GPIO_Port, A0_2_Pin, HardwareOVP&1);
    //HardwareUVP
    HAL_GPIO_WritePin(A1_3_GPIO_Port, A1_3_Pin, (HardwareUVP>>3)&1);
    HAL_GPIO_WritePin(A0_3_GPIO_Port, A0_3_Pin, (HardwareUVP>>2)&1);
    HAL_GPIO_WritePin(A1_4_GPIO_Port, A1_4_Pin, (HardwareUVP>>1)&1);
    HAL_GPIO_WritePin(A0_4_GPIO_Port, A0_4_Pin, HardwareUVP&1);
    //Cell_CNT
    HAL_GPIO_WritePin(A1_5_GPIO_Port, A1_5_Pin, (HardwareCellCnt>>3)&1);
    HAL_GPIO_WritePin(A0_5_GPIO_Port, A0_5_Pin, (HardwareCellCnt>>2)&1);
    HAL_GPIO_WritePin(A1_6_GPIO_Port, A1_6_Pin, (HardwareCellCnt>>1)&1);
    HAL_GPIO_WritePin(A0_6_GPIO_Port, A0_6_Pin, HardwareCellCnt&1);
    //Hysteresis
    HAL_GPIO_WritePin(A0_7_GPIO_Port, A1_7_Pin, (HardwareHysteresis>>1)&1);
    HAL_GPIO_WritePin(A1_7_GPIO_Port, A0_7_Pin, (HardwareHysteresis)&1);
    //HardwareFault
    HAL_GPIO_WritePin(A1_8_GPIO_Port, A1_8_Pin, (HardwareCycleTime>>1)&1);
    HAL_GPIO_WritePin(A0_8_GPIO_Port, A0_8_Pin, (HardwareCycleTime)&1);
}

/* USER CODE END 4 */

void Error_Handler(void)
{
  __disable_irq();
  while (1)
  {
  }
}
